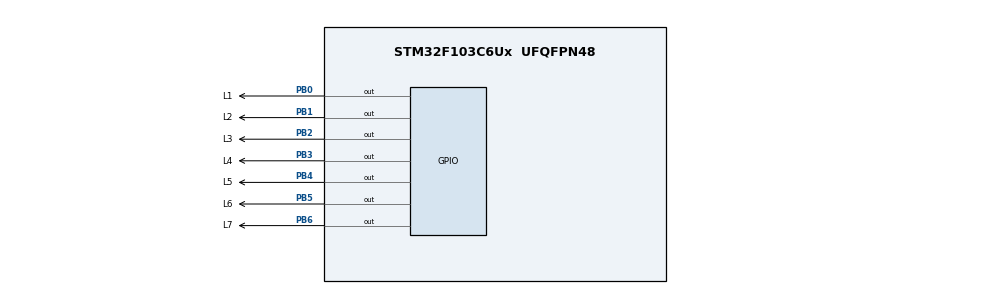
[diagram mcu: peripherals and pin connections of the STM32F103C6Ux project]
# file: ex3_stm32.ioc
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Mcu.Family=STM32F1
Mcu.Name=STM32F103C6Ux
Mcu.Package=UFQFPN48
NVIC.PriorityGroup=NVIC_PRIORITYGROUP_4
PB0.GPIO_Label=L1
PB0.Signal=GPIO_Output
PB1.GPIO_Label=L2
PB1.Signal=GPIO_Output
PB2.GPIO_Label=L3
PB2.Signal=GPIO_Output
PB3.GPIO_Label=L4
PB3.Signal=GPIO_Output
PB4.GPIO_Label=L5
PB4.Signal=GPIO_Output
PB5.GPIO_Label=L6
PB5.Signal=GPIO_Output
PB6.GPIO_Label=L7
PB6.Signal=GPIO_Output
ProjectManager.HeapSize=0x200
ProjectManager.StackSize=0x400
ProjectManager.TargetToolchain=STM32CubeIDE
RCC.APB1Freq_Value=8000000
RCC.APB2Freq_Value=8000000
VP_SYS_VS_ND.Mode=No_Debug
board=custom

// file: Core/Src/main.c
/* USER CODE BEGIN Header */
/**
  ******************************************************************************
  * @file           : main.c
  * @brief          : Main program body
  ******************************************************************************
  * @attention
  *
  * <h2><center>&copy; Copyright (c) 2022 STMicroelectronics.
  * All rights reserved.</center></h2>
  *
  * This software component is licensed by ST under BSD 3-Clause license,
  * the "License"; You may not use this file except in compliance with the
  * License. You may obtain a copy of the License at:
  *                        opensource.org/licenses/BSD-3-Clause
  *
  ******************************************************************************
  */
/* USER CODE END Header */
#include "main.h"

void SystemClock_Config(void);
static void MX_GPIO_Init(void);

int main(void)
{

  /* MCU Configuration--------------------------------------------------------*/

  /* Reset of all peripherals, Initializes the Flash interface and the Systick. */
  HAL_Init();

  /* Configure the system clock */
  SystemClock_Config();

  /* Initialize all configured peripherals */
  MX_GPIO_Init();
  /* USER CODE BEGIN 2 */
  void display7SEG(int num){
  	  HAL_GPIO_WritePin( L1_GPIO_Port , L1_Pin ,GPIO_PIN_SET );
  	  HAL_GPIO_WritePin( L2_GPIO_Port , L2_Pin ,GPIO_PIN_SET );
  	  HAL_GPIO_WritePin( L3_GPIO_Port , L3_Pin ,GPIO_PIN_SET );
  	  HAL_GPIO_WritePin( L4_GPIO_Port , L4_Pin ,GPIO_PIN_SET );
  	  HAL_GPIO_WritePin( L5_GPIO_Port , L5_Pin ,GPIO_PIN_SET );
  	  HAL_GPIO_WritePin( L6_GPIO_Port , L6_Pin ,GPIO_PIN_SET );
  	  HAL_GPIO_WritePin( L7_GPIO_Port , L7_Pin ,GPIO_PIN_SET );
  	  if(num<=0){
  		  HAL_GPIO_WritePin( L1_GPIO_Port , L1_Pin ,GPIO_PIN_RESET );
  		  HAL_GPIO_WritePin( L2_GPIO_Port , L2_Pin ,GPIO_PIN_RESET );
  		  HAL_GPIO_WritePin( L3_GPIO_Port , L3_Pin ,GPIO_PIN_RESET );
  		  HAL_GPIO_WritePin( L4_GPIO_Port , L4_Pin ,GPIO_PIN_RESET );
  		  HAL_GPIO_WritePin( L5_GPIO_Port , L5_Pin ,GPIO_PIN_RESET );
  		  HAL_GPIO_WritePin( L6_GPIO_Port , L6_Pin ,GPIO_PIN_RESET );
  	  }
  	  else if(num==1){
  		  HAL_GPIO_WritePin( L2_GPIO_Port , L2_Pin ,GPIO_PIN_RESET );
  		  HAL_GPIO_WritePin( L3_GPIO_Port , L3_Pin ,GPIO_PIN_RESET );
  	  }
  	  else if(num==2){
  		  HAL_GPIO_WritePin( L1_GPIO_Port , L1_Pin ,GPIO_PIN_RESET );
  		  HAL_GPIO_WritePin( L2_GPIO_Port , L2_Pin ,GPIO_PIN_RESET );
  		  HAL_GPIO_WritePin( L4_GPIO_Port , L4_Pin ,GPIO_PIN_RESET );
  		  HAL_GPIO_WritePin( L5_GPIO_Port , L5_Pin ,GPIO_PIN_RESET );
  		  HAL_GPIO_WritePin( L7_GPIO_Port , L7_Pin ,GPIO_PIN_RESET );
  	  }
  	  else if(num==3){
  		  HAL_GPIO_WritePin( L1_GPIO_Port , L1_Pin ,GPIO_PIN_RESET );
  		  HAL_GPIO_WritePin( L2_GPIO_Port , L2_Pin ,GPIO_PIN_RESET );
  		  HAL_GPIO_WritePin( L3_GPIO_Port , L3_Pin ,GPIO_PIN_RESET );
  		  HAL_GPIO_WritePin( L4_GPIO_Port , L4_Pin ,GPIO_PIN_RESET );
  		  HAL_GPIO_WritePin( L7_GPIO_Port , L7_Pin ,GPIO_PIN_RESET );
  	  }
  	  else if(num==4){
  		  HAL_GPIO_WritePin( L2_GPIO_Port , L2_Pin ,GPIO_PIN_RESET );
  		  HAL_GPIO_WritePin( L3_GPIO_Port , L3_Pin ,GPIO_PIN_RESET );
  		  HAL_GPIO_WritePin( L6_GPIO_Port , L6_Pin ,GPIO_PIN_RESET );
  		  HAL_GPIO_WritePin( L7_GPIO_Port , L7_Pin ,GPIO_PIN_RESET );
  	  }
  	  else if(num==5){
  		  HAL_GPIO_WritePin( L1_GPIO_Port , L1_Pin ,GPIO_PIN_RESET );
  		  HAL_GPIO_WritePin( L3_GPIO_Port , L3_Pin ,GPIO_PIN_RESET );
  		  HAL_GPIO_WritePin( L4_GPIO_Port , L4_Pin ,GPIO_PIN_RESET );
  		  HAL_GPIO_WritePin( L6_GPIO_Port , L6_Pin ,GPIO_PIN_RESET );
  		  HAL_GPIO_WritePin( L7_GPIO_Port , L7_Pin ,GPIO_PIN_RESET );
  	  }
  	  else if(num==6){
  		  HAL_GPIO_WritePin( L1_GPIO_Port , L1_Pin ,GPIO_PIN_RESET );
  		  HAL_GPIO_WritePin( L3_GPIO_Port , L3_Pin ,GPIO_PIN_RESET );
  		  HAL_GPIO_WritePin( L4_GPIO_Port , L4_Pin ,GPIO_PIN_RESET );
  		  HAL_GPIO_WritePin( L5_GPIO_Port , L5_Pin ,GPIO_PIN_RESET );
  		  HAL_GPIO_WritePin( L6_GPIO_Port , L6_Pin ,GPIO_PIN_RESET );
  		  HAL_GPIO_WritePin( L7_GPIO_Port , L7_Pin ,GPIO_PIN_RESET );
  	  }
  	  else if(num==7){
  		  HAL_GPIO_WritePin( L1_GPIO_Port , L1_Pin ,GPIO_PIN_RESET );
  		  HAL_GPIO_WritePin( L2_GPIO_Port , L2_Pin ,GPIO_PIN_RESET );
  		  HAL_GPIO_WritePin( L3_GPIO_Port , L3_Pin ,GPIO_PIN_RESET );
  	  }
  	  else if(num==8){
  		  HAL_GPIO_WritePin( L1_GPIO_Port , L1_Pin ,GPIO_PIN_RESET );
  		  HAL_GPIO_WritePin( L2_GPIO_Port , L2_Pin ,GPIO_PIN_RESET );
  		  HAL_GPIO_WritePin( L3_GPIO_Port , L3_Pin ,GPIO_PIN_RESET );
  		  HAL_GPIO_WritePin( L4_GPIO_Port , L4_Pin ,GPIO_PIN_RESET );
  		  HAL_GPIO_WritePin( L5_GPIO_Port , L5_Pin ,GPIO_PIN_RESET );
  		  HAL_GPIO_WritePin( L6_GPIO_Port , L6_Pin ,GPIO_PIN_RESET );
  		  HAL_GPIO_WritePin( L7_GPIO_Port , L7_Pin ,GPIO_PIN_RESET );
  	  }
  	  else if(num==9){
  		  HAL_GPIO_WritePin( L1_GPIO_Port , L1_Pin ,GPIO_PIN_RESET );
  		  HAL_GPIO_WritePin( L2_GPIO_Port , L2_Pin ,GPIO_PIN_RESET );
  		  HAL_GPIO_WritePin( L3_GPIO_Port , L3_Pin ,GPIO_PIN_RESET );
  		  HAL_GPIO_WritePin( L4_GPIO_Port , L4_Pin ,GPIO_PIN_RESET );
  		  HAL_GPIO_WritePin( L6_GPIO_Port , L6_Pin ,GPIO_PIN_RESET );
  		  HAL_GPIO_WritePin( L7_GPIO_Port , L7_Pin ,GPIO_PIN_RESET );
  	  }
    }
  /* USER CODE END 2 */

  /* Infinite loop */
  /* USER CODE BEGIN WHILE */
  int counter = 0;
  while (1){
      if(counter >= 10) counter = 0;
      display7SEG(counter++);
      HAL_Delay(1000);
  }
  /* USER CODE END 3 */
}

void SystemClock_Config(void)
{
  RCC_OscInitTypeDef RCC_OscInitStruct = {0};
  RCC_ClkInitTypeDef RCC_ClkInitStruct = {0};

  /** Initializes the RCC Oscillators according to the specified parameters
  * in the RCC_OscInitTypeDef structure.
  */
  RCC_OscInitStruct.OscillatorType = RCC_OSCILLATORTYPE_HSI;
  RCC_OscInitStruct.HSIState = RCC_HSI_ON;
  RCC_OscInitStruct.HSICalibrationValue = RCC_HSICALIBRATION_DEFAULT;
  RCC_OscInitStruct.PLL.PLLState = RCC_PLL_NONE;
  if (HAL_RCC_OscConfig(&RCC_OscInitStruct) != HAL_OK)
  {
    Error_Handler();
  }
  /** Initializes the CPU, AHB and APB buses clocks
  */
  RCC_ClkInitStruct.ClockType = RCC_CLOCKTYPE_HCLK|RCC_CLOCKTYPE_SYSCLK
                              |RCC_CLOCKTYPE_PCLK1|RCC_CLOCKTYPE_PCLK2;
  RCC_ClkInitStruct.SYSCLKSource = RCC_SYSCLKSOURCE_HSI;
  RCC_ClkInitStruct.AHBCLKDivider = RCC_SYSCLK_DIV1;
  RCC_ClkInitStruct.APB1CLKDivider = RCC_HCLK_DIV1;
  RCC_ClkInitStruct.APB2CLKDivider = RCC_HCLK_DIV1;

  if (HAL_RCC_ClockConfig(&RCC_ClkInitStruct, FLASH_LATENCY_0) != HAL_OK)
  {
    Error_Handler();
  }
}

static void MX_GPIO_Init(void)
{
  GPIO_InitTypeDef GPIO_InitStruct = {0};

  /* GPIO Ports Clock Enable */
  __HAL_RCC_GPIOB_CLK_ENABLE();

  /*Configure GPIO pin Output Level */
  HAL_GPIO_WritePin(GPIOB, L1_Pin|L2_Pin|L3_Pin|L4_Pin
                          |L5_Pin|L6_Pin|L7_Pin, GPIO_PIN_RESET);

  /*Configure GPIO pins : L1_Pin L2_Pin L3_Pin L4_Pin
                           L5_Pin L6_Pin L7_Pin */
  GPIO_InitStruct.Pin = L1_Pin|L2_Pin|L3_Pin|L4_Pin
                          |L5_Pin|L6_Pin|L7_Pin;
  GPIO_InitStruct.Mode = GPIO_MODE_OUTPUT_PP;
  GPIO_InitStruct.Pull = GPIO_NOPULL;
  GPIO_InitStruct.Speed = GPIO_SPEED_FREQ_LOW;
  HAL_GPIO_Init(GPIOB, &GPIO_InitStruct);

}

void Error_Handler(void)
{
  __disable_irq();
  while (1)
  {
  }
}

/************************ (C) COPYRIGHT STMicroelectronics *****END OF FILE****/
